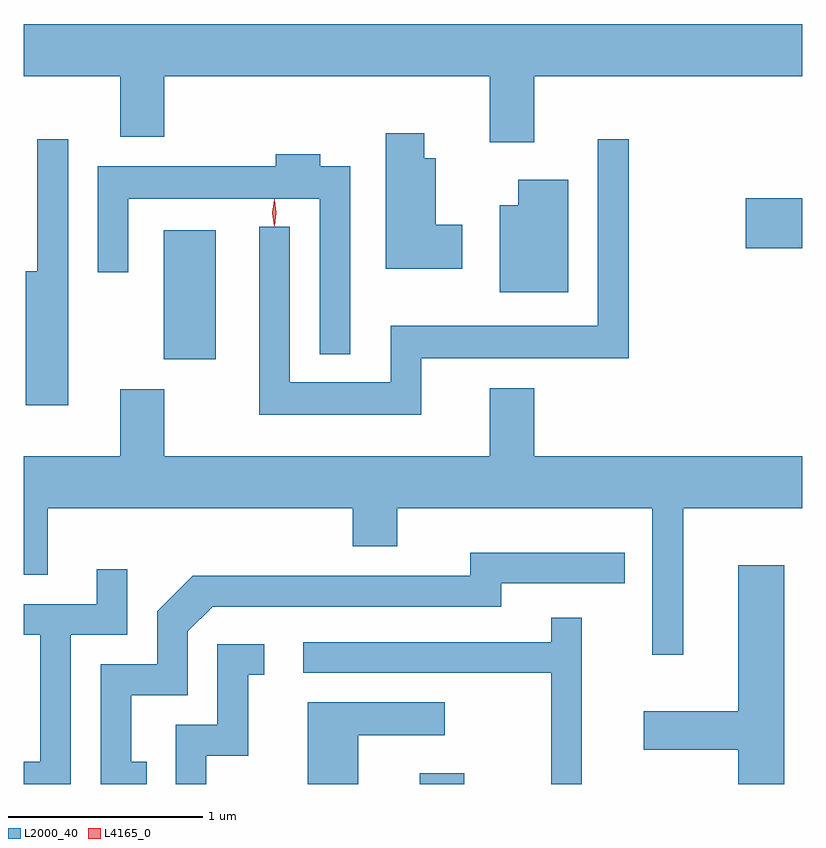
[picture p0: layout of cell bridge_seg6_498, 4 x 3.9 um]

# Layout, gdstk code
import gdstk
lib = gdstk.Library(unit=1e-6, precision=1e-09)
def R(c, l, rs):  # rectangles x0, y0, x1, y1
    for r in rs: c.add(gdstk.rectangle(r[:2], r[2:], *l))
def P(c, l, *ps):  # polygons
    for p in ps: c.add(gdstk.Polygon(p, *l))
L2000_40 = (2000, 40)
L4165_0 = (4165, 0)

bridge_seg6_498 = lib.new_cell('bridge_seg6_498')
R(bridge_seg6_498, L2000_40, [(542.181,1637.42,542.409,1637.474), (540.866,1639.601,541.134,1640.264), (543.856,1640.171,544.146,1640.429)])
P(bridge_seg6_498, L2000_40, [(542.769,1641.056),(544.146,1641.056),(544.146,1641.324),(540.146,1641.324),(540.146,1641.056),(540.641,1641.056),(540.641,1640.746),(540.869,1640.746),(540.869,1641.056),(542.541,1641.056),(542.541,1640.716),(542.769,1640.716)],
  [(542.399,1640.294),(542.264,1640.294),(542.264,1640.634),(542.204,1640.634),(542.204,1640.764),(542.006,1640.764),(542.006,1640.066),(542.399,1640.066)],
  [(542.189,1639.606),(543.254,1639.606),(543.254,1640.733),(543.096,1640.733),(543.096,1639.774),(542.031,1639.774),(542.031,1639.484),(541.514,1639.484),(541.514,1640.283),(541.356,1640.283),(541.356,1639.316),(542.189,1639.316)],
  [(540.374,1640.733),(540.216,1640.733),(540.216,1640.054),(540.156,1640.054),(540.156,1639.366),(540.374,1639.366)],
  [(541.824,1640.594),(541.669,1640.594),(541.669,1640.654),(541.441,1640.654),(541.441,1640.594),(540.526,1640.594),(540.526,1640.048),(540.684,1640.048),(540.684,1640.426),(541.666,1640.426),(541.666,1639.628),(541.824,1639.628)],
  [(542.944,1640.524),(542.686,1640.524),(542.686,1640.394),(542.591,1640.394),(542.591,1639.946),(542.944,1639.946)],
  [(543.534,1638.836),(544.146,1638.836),(544.146,1639.104),(542.769,1639.104),(542.769,1639.454),(542.541,1639.454),(542.541,1639.104),(540.869,1639.104),(540.869,1639.449),(540.641,1639.449),(540.641,1639.104),(540.146,1639.104),(540.146,1638.496),(540.269,1638.496),(540.269,1638.836),(541.836,1638.836),(541.836,1638.641),(542.064,1638.641),(542.064,1638.836),(543.376,1638.836),(543.376,1638.083),(543.534,1638.083)],
  [(540.778,1637.534),(540.699,1637.534),(540.699,1637.876),(540.989,1637.876),(540.989,1638.204),(541.117,1638.331),(542.599,1638.331),(542.599,1638.451),(543.233,1638.451),(543.233,1638.609),(542.441,1638.609),(542.441,1638.489),(541.014,1638.489),(540.831,1638.307),(540.831,1638.034),(540.541,1638.034),(540.541,1637.42),(540.778,1637.42)],
  [(544.054,1638.544),(543.816,1638.544),(543.816,1637.794),(543.331,1637.794),(543.331,1637.596),(543.816,1637.596),(543.816,1637.42),(544.054,1637.42)],
  [(540.389,1638.186),(540.679,1638.186),(540.679,1638.523),(540.521,1638.523),(540.521,1638.344),(540.146,1638.344),(540.146,1638.186),(540.231,1638.186),(540.231,1637.534),(540.146,1637.534),(540.146,1637.42),(540.389,1637.42)],
  [(543.014,1638.273),(542.856,1638.273),(542.856,1638.149),(541.583,1638.149),(541.583,1637.991),(542.856,1637.991),(542.856,1637.42),(543.014,1637.42)],
  [(541.084,1637.566),(541.299,1637.566),(541.299,1637.981),(541.383,1637.981),(541.383,1638.139),(541.141,1638.139),(541.141,1637.724),(540.926,1637.724),(540.926,1637.42),(541.084,1637.42)],
  [(541.864,1637.671),(542.308,1637.671),(542.308,1637.839),(541.606,1637.839),(541.606,1637.42),(541.864,1637.42)])
P(bridge_seg6_498, L4165_0, [(541.434,1640.287),(541.434,1640.288),(541.424,1640.354),(541.434,1640.42),(541.434,1640.42),(541.435,1640.42),(541.444,1640.354),(541.435,1640.288)],
  [(541.433,1640.284),(541.424,1640.353),(541.433,1640.422),(541.434,1640.423),(541.434,1640.422),(541.444,1640.353),(541.434,1640.284),(541.434,1640.284)])

lib.write_gds('bridge_seg6_498.gds')
